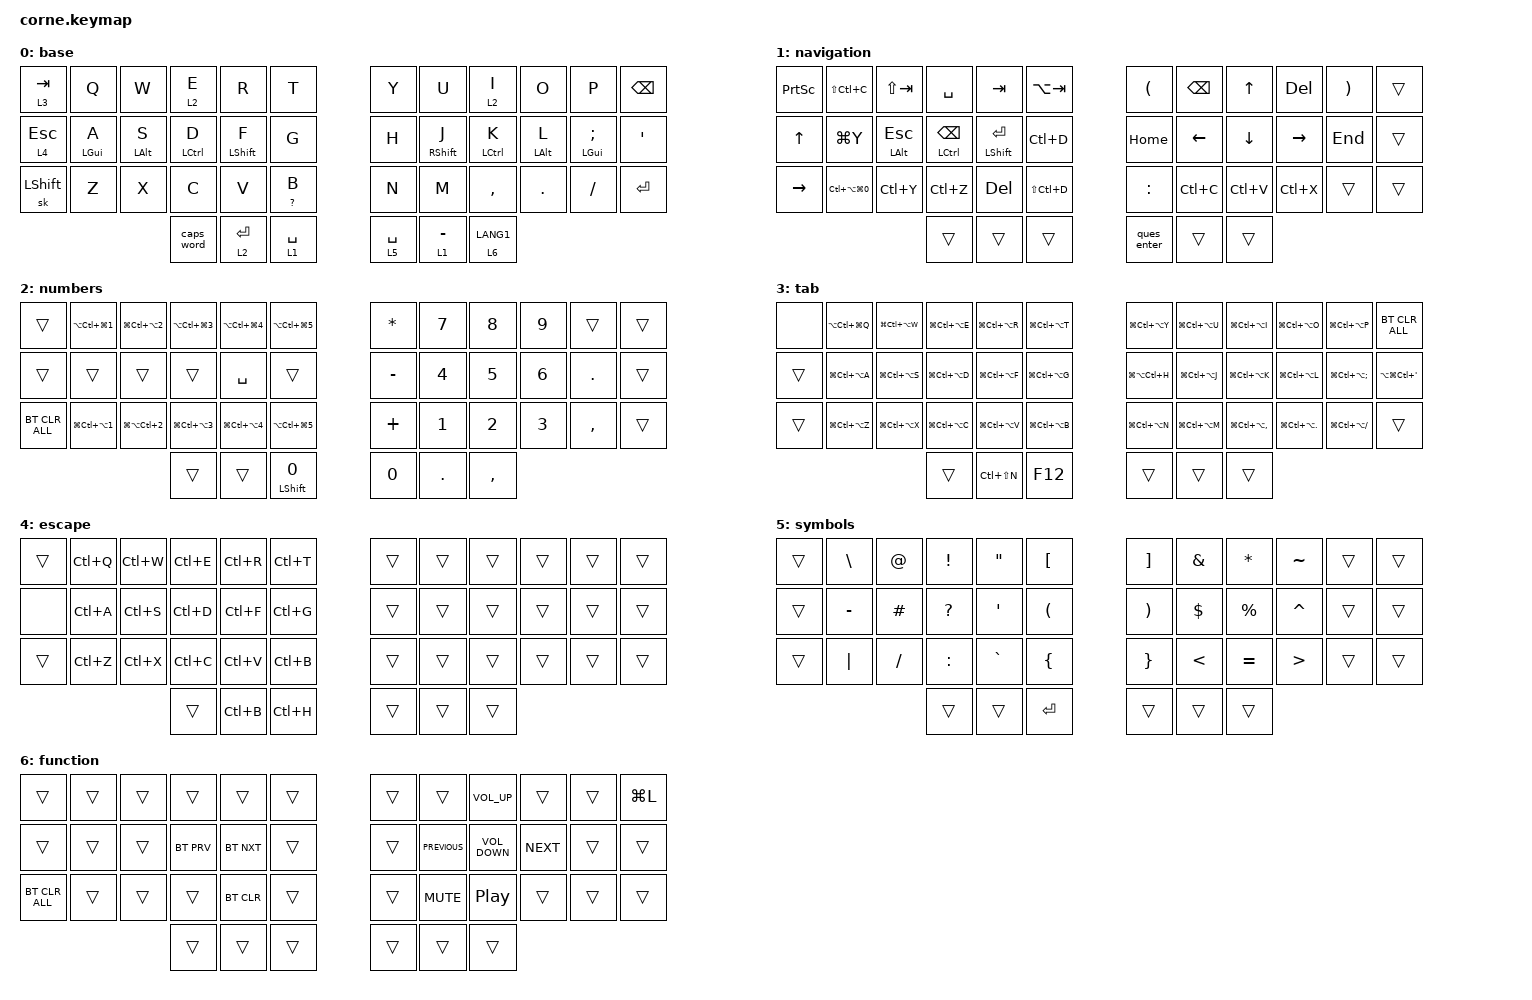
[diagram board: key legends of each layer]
/*
 * Copyright (c) 2020 The ZMK Contributors
 *
 * SPDX-License-Identifier: MIT
 */

#include <behaviors.dtsi>
#include <dt-bindings/zmk/bt.h>
#include <dt-bindings/zmk/keys.h>

&lt { tapping-term-ms = <260>; };

/ {
    combos {
        compatible = "zmk,combos";

        close {
            bindings = <&kp LC(W)>;
            key-positions = <3 16>;
        };

        cut {
            bindings = <&kp LC(X)>;
            key-positions = <26 27>;
        };

        copy {
            bindings = <&kp LC(C)>;
            key-positions = <26 28>;
        };

        paste {
            bindings = <&kp LC(V)>;
            key-positions = <28 27>;
        };

        copyall {
            bindings = <&cpya>;
            key-positions = <25 28>;
        };

        enter {
            bindings = <&kp ENTER>;
            key-positions = <14 15 16>;
        };

        selectall {
            bindings = <&kp LC(A)>;
            key-positions = <26 27 28>;
        };

        escape {
            bindings = <&kp ESCAPE>;
            key-positions = <14 15>;
        };

        oe {
            bindings = <&kp RA(O)>;
            key-positions = <19 20>;
        };

        ue {
            bindings = <&kp RA(U)>;
            key-positions = <20 21>;
        };

        ae {
            bindings = <&kp RA(A)>;
            key-positions = <7 8>;
        };

        sz {
            bindings = <&kp RA(S)>;
            key-positions = <8 9>;
        };

        aeu {
            bindings = <&aeu>;
            key-positions = <7 8 9>;
        };

        pasteenter {
            bindings = <&pasteenter>;
            key-positions = <28 38>;
        };

        pasteall {
            bindings = <&pasteall>;
            key-positions = <28 29>;
        };

        pasteallenter {
            bindings = <&pasteallenter>;
            key-positions = <29 38>;
        };
    };

    behaviors {
        hmr: hmr {
            compatible = "zmk,behavior-hold-tap";
            label = "homerow mod right";
            bindings = <&kp>, <&kp>;

            #binding-cells = <2>;
            tapping-term-ms = <320>;
            flavor = "tap-preferred";
            hold-trigger-key-positions = <0 1 2 4 5 12 13 14 15 16 17 24 25 26 27 28 29 36 37 38 3 39 40 41>;
            hold-trigger-on-release;
        };

        hml: hml {
            compatible = "zmk,behavior-hold-tap";
            label = "HML";
            bindings = <&kp>, <&kp>;

            #binding-cells = <2>;
            tapping-term-ms = <320>;
            flavor = "tap-preferred";
            hold-trigger-on-release;
            hold-trigger-key-positions = <6 7 8 9 10 11 18 19 20 21 22 23 30 31 32 33 34 35 39 40 41 36 37 38>;
        };

        hmls: hmls {
            compatible = "zmk,behavior-hold-tap";
            label = "HMLS";
            bindings = <&kp>, <&kp>;

            #binding-cells = <2>;
            tapping-term-ms = <220>;
            flavor = "tap-preferred";
            hold-trigger-on-release;
            hold-trigger-key-positions = <6 7 8 9 10 11 18 19 20 21 22 23 30 31 32 33 34 35 39 40 41 36 37 38>;
            quick-tap-ms = <0>;
        };

        hmrs: hmrs {
            compatible = "zmk,behavior-hold-tap";
            label = "HMRS";
            bindings = <&kp>, <&kp>;

            #binding-cells = <2>;
            tapping-term-ms = <220>;
            flavor = "tap-preferred";
            hold-trigger-key-positions = <0 1 2 4 5 12 13 14 15 16 17 24 25 26 27 28 29 36 37 38 3 39 40 41>;
            hold-trigger-on-release;
            quick-tap-ms = <0>;
        };

        num: num {
            compatible = "zmk,behavior-hold-tap";
            label = "NUM";
            bindings = <&mo>, <&kp>;

            #binding-cells = <2>;
            tapping-term-ms = <320>;
            flavor = "tap-preferred";
            hold-trigger-on-release;
        };
    };

    macros {
        cpya: cpya {
            compatible = "zmk,behavior-macro";
            #binding-cells = <0>;
            bindings = <&kp LC(A) &kp LC(C)>;
            label = "CPYA";
        };

        smiley1: smiley1 {
            compatible = "zmk,behavior-macro";
            #binding-cells = <0>;
            bindings = <&kp COLON &kp RPAR>;
            label = "SMILEY1";
        };

        smiley2: smiley2 {
            compatible = "zmk,behavior-macro";
            #binding-cells = <0>;
            bindings = <&kp COLON &kp SPACE &kp LS(D)>;
            label = "SMILEY2";
        };

        smiley3: smiley3 {
            compatible = "zmk,behavior-macro";
            #binding-cells = <0>;
            bindings = <&kp COLON &kp SPACE &kp LS(D) &kp LS(D) &kp LS(D)>;
            label = "SMILEY3";
        };

        smiley4: smiley4 {
            compatible = "zmk,behavior-macro";
            #binding-cells = <0>;
            bindings = <&kp CARET &kp UNDER &kp CARET>;
            label = "SMILEY4";
        };

        ques_enter: ques_enter {
            compatible = "zmk,behavior-macro";
            #binding-cells = <0>;
            bindings = <&kp QUESTION &kp ENTER>;
            label = "QUES_ENTER";
        };

        aeu: aeu {
            compatible = "zmk,behavior-macro";
            #binding-cells = <0>;
            bindings = <&kp RA(A) &kp U>;
            label = "AEU";
        };

        pasteall: pasteall {
            compatible = "zmk,behavior-macro";
            #binding-cells = <0>;
            bindings = <&kp LC(A) &kp LC(V)>;
            label = "PASTEALL";
        };

        pasteenter: pasteenter {
            compatible = "zmk,behavior-macro";
            #binding-cells = <0>;
            bindings = <&kp LC(V) &kp ENTER>;
            label = "PASTEENTER";
        };

        pasteallenter: pasteallenter {
            compatible = "zmk,behavior-macro";
            #binding-cells = <0>;
            bindings = <&kp LC(A) &kp LC(V) &kp ENTER>;
            label = "PASTEALLENTER";
        };
    };

    keymap {
        compatible = "zmk,keymap";

        base {
            bindings = <
&lt 3 TAB     &kp Q            &kp W            &num 2 E      &kp R               &kp T          &kp Y        &kp U                &num 2 I      &kp O            &kp P               &kp BSPC
&lt 4 ESCAPE  &hml LEFT_GUI A  &hml LEFT_ALT S  &hml LCTRL D  &hmls LEFT_SHIFT F  &kp G          &kp H        &hmrs RIGHT_SHIFT J  &hmr LCTRL K  &hmr LEFT_ALT L  &hmr LEFT_GUI SEMI  &kp SQT
&sk LSHFT     &kp Z            &kp X            &kp C         &kp V               &mt QMARK B    &kp N        &kp M                &kp COMMA     &kp DOT          &kp FSLH            &kp ENTER
                                                &caps_word    &lt 2 ENTER         &lt 1 SPACE    &lt 5 SPACE  &lt 1 MINUS          &lt 6 LANG1
            >;
        };

        navigation {
            bindings = <
&kp PRINTSCREEN  &kp LS(LC(C))       &kp LS(TAB)          &kp SPACE            &kp TAB               &kp LA(TAB)      &kp LEFT_PARENTHESIS  &kp BSPC   &kp UP     &kp DEL    &kp RPAR  &trans
&kp UP_ARROW     &kp LG(Y)           &mt LEFT_ALT ESCAPE  &mt LCTRL BACKSPACE  &mt LEFT_SHIFT ENTER  &kp LC(D)        &kp HOME              &kp LEFT   &kp DOWN   &kp RIGHT  &kp END   &trans
&kp RIGHT        &kp LC(LA(LG(N0)))  &kp LC(Y)            &kp LC(Z)            &kp DEL               &kp LS(LC(D))    &kp COLON             &kp LC(C)  &kp LC(V)  &kp LC(X)  &trans    &trans
                                                          &trans               &trans                &trans           &ques_enter           &trans     &trans
            >;
        };

        numbers {
            bindings = <
&trans          &kp LA(LC(LG(NUMBER_1)))  &kp LG(LC(LA(NUMBER_2)))  &kp LA(LC(LG(NUMBER_3)))  &kp LA(LC(LG(NUMBER_4)))  &kp LA(LC(LG(N5)))          &kp ASTRK  &kp N7   &kp N8     &kp N9  &trans     &trans
&trans          &trans                    &trans                    &trans                    &kp SPACE                 &trans                      &kp MINUS  &kp N4   &kp N5     &kp N6  &kp DOT    &trans
&bt BT_CLR_ALL  &kp LG(LC(LA(NUMBER_1)))  &kp LG(LA(LC(NUMBER_2)))  &kp LG(LC(LA(NUMBER_3)))  &kp LG(LC(LA(NUMBER_4)))  &kp LA(LC(LG(NUMBER_5)))    &kp PLUS   &kp N1   &kp N2     &kp N3  &kp COMMA  &trans
                                                                    &trans                    &trans                    &mt LEFT_SHIFT NUMBER_0     &kp N0     &kp DOT  &kp COMMA
            >;
        };

        tab {
            bindings = <
&none   &kp LA(LC(LG(Q)))  &kp LG(LC(LA(W)))  &kp LG(LC(LA(E)))  &kp LG(LC(LA(R)))  &kp LG(LC(LA(T)))    &kp LG(LC(LA(Y)))  &kp LG(LC(LA(U)))  &kp LG(LC(LA(I)))      &kp LG(LC(LA(O)))    &kp LG(LC(LA(P)))     &bt BT_CLR_ALL
&trans  &kp LG(LC(LA(A)))  &kp LG(LC(LA(S)))  &kp LG(LC(LA(D)))  &kp LG(LC(LA(F)))  &kp LG(LC(LA(G)))    &kp LG(LA(LC(H)))  &kp LG(LC(LA(J)))  &kp LG(LC(LA(K)))      &kp LG(LC(LA(L)))    &kp LG(LC(LA(SEMI)))  &kp LA(LG(LC(APOS)))
&trans  &kp LG(LC(LA(Z)))  &kp LG(LC(LA(X)))  &kp LG(LC(LA(C)))  &kp LG(LC(LA(V)))  &kp LG(LC(LA(B)))    &kp LG(LC(LA(N)))  &kp LG(LC(LA(M)))  &kp LG(LC(LA(COMMA)))  &kp LG(LC(LA(DOT)))  &kp LG(LC(LA(FSLH)))  &trans
                                              &trans             &kp LC(LS(N))      &kp F12              &trans             &trans             &trans
            >;
        };

        escape {
            bindings = <
&trans  &kp LC(Q)  &kp LC(W)  &kp LC(E)  &kp LC(R)  &kp LC(T)    &trans  &trans  &trans  &trans  &trans  &trans
&none   &kp LC(A)  &kp LC(S)  &kp LC(D)  &kp LC(F)  &kp LC(G)    &trans  &trans  &trans  &trans  &trans  &trans
&trans  &kp LC(Z)  &kp LC(X)  &kp LC(C)  &kp LC(V)  &kp LC(B)    &trans  &trans  &trans  &trans  &trans  &trans
                              &trans     &kp LC(B)  &kp LC(H)    &trans  &trans  &trans
            >;
        };

        symbols {
            bindings = <
&trans  &kp BACKSLASH  &kp AT     &kp EXCL   &kp DQT    &kp LBKT    &kp RBKT  &kp AMPS  &kp ASTRK  &kp TILDE  &trans  &trans
&trans  &kp MINUS      &kp HASH   &kp QMARK  &kp SQT    &kp LPAR    &kp RPAR  &kp DLLR  &kp PRCNT  &kp CARET  &trans  &trans
&trans  &kp PIPE       &kp SLASH  &kp COLON  &kp GRAVE  &kp LBRC    &kp RBRC  &kp LT    &kp EQUAL  &kp GT     &trans  &trans
                                  &trans     &trans     &kp RET     &trans    &trans    &trans
            >;
        };

        function {
            bindings = <
&trans          &trans  &trans  &trans      &trans      &trans    &trans  &trans          &kp C_VOLUME_UP    &trans      &trans  &kp LG(L)
&trans          &trans  &trans  &bt BT_PRV  &bt BT_NXT  &trans    &trans  &kp C_PREVIOUS  &kp C_VOLUME_DOWN  &kp C_NEXT  &trans  &trans
&bt BT_CLR_ALL  &trans  &trans  &trans      &bt BT_CLR  &trans    &trans  &kp C_MUTE      &kp C_PLAY_PAUSE   &trans      &trans  &trans
                                &trans      &trans      &trans    &trans  &trans          &trans
            >;
        };
    };
};
